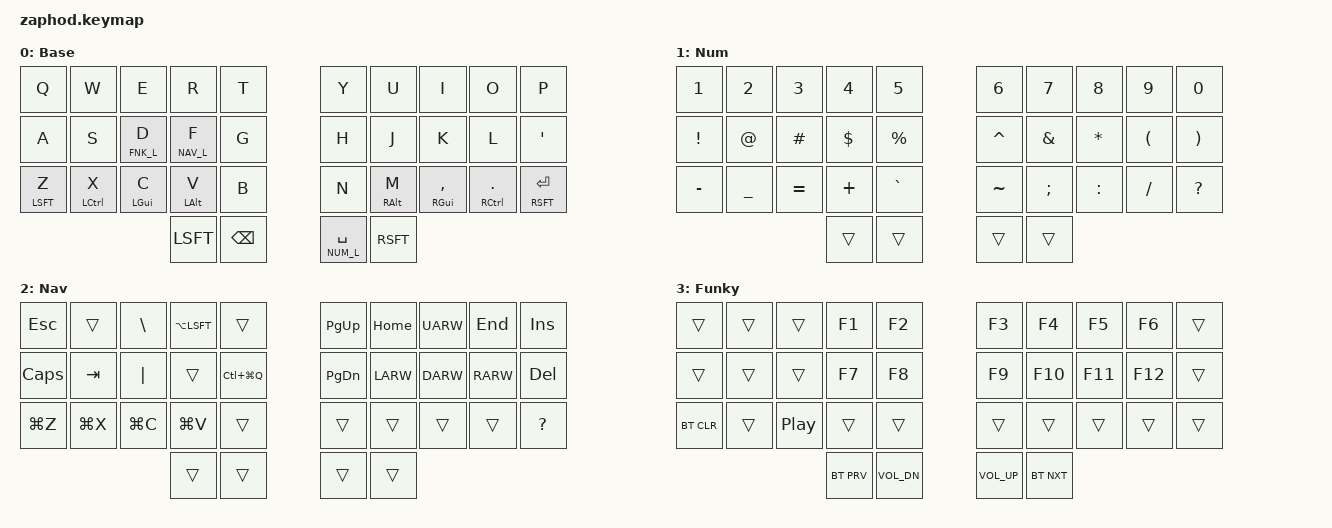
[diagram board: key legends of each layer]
/*
 * Copyright (c) 2021 Pete Johanson
 *
 * SPDX-License-Identifier: MIT
 */

#include <behaviors.dtsi>
#include <dt-bindings/zmk/keys.h>
#include <dt-bindings/zmk/bt.h>
#include <dt-bindings/zmk/outputs.h>

#define NUM_L 1
#define NAV_L 2
#define FNK_L 3

// Using layer taps on thumbs, having quick tap as well helps w/ repeating space/backspace
&lt { quick_tap_ms = <200>; };

/ {
    behaviors {
        hm: homerow_mods {
            compatible = "zmk,behavior-hold-tap";
            label = "homerow mods";
            #binding-cells = <2>;
            tapping_term_ms = <200>;
            flavor = "tap-preferred";
            bindings = <&kp>, <&kp>;
        };
    };

    keymap {
        compatible = "zmk,keymap";

        default_layer {
            label = "Base";
            bindings = <
                &kp Q      &kp W      &kp E       &kp R          &kp T         &kp Y            &kp U          &kp I       &kp O      &kp P
                &kp A      &kp S      &lt FNK_L D &lt NAV_L F    &kp G         &kp H            &kp J          &kp K       &kp L      &kp QUOT
                &hm LSFT Z &hm LCTRL X &hm LGUI C &hm LALT V     &kp B         &kp N       &hm RALT M  &hm RGUI COMMA &hm RCTRL DOT   &hm RSFT RET
                                                  &kp LSFT      &kp BKSP      &lt NUM_L SPACE  &kp RSFT
            >;
        };
	
	num_layer {
            label = "Num";
            bindings = <
                &kp N1     &kp N2     &kp N3      &kp N4          &kp N5       &kp N6           &kp N7         &kp N8      &kp N9     &kp N0
                &kp EXCL   &kp AT     &kp HASH    &kp DLLR        &kp PRCNT    &kp CARET        &kp AMPS       &kp STAR    &kp LPAR   &kp RPAR
                &kp MINUS  &kp UNDER  &kp EQUAL   &kp PLUS          &kp GRAVE    &kp TILDE        &kp SEMI       &kp COLON   &kp FSLH   &kp QMARK
                                                  &trans          &trans       &trans           &trans
            >;
        };
        
	nav_layer {
            label = "Nav";
            bindings = <
                &kp ESC     &trans       &kp BSLH    &kp LA(LSFT)     &trans       &kp PG_UP       &kp HOME        &kp UARW    &kp END    &kp INS
                &kp CAPS    &kp TAB      &kp PIPE    &trans          &kp LC(LG(Q))        &kp PG_DN       &kp LARW        &kp DARW    &kp RARW   &kp DEL
                &kp LG(Z)   &kp LG(X)    &kp LG(C)   &kp LG(V)          &trans       &trans           &trans          &trans      &trans     &kp QMARK
                                                  &trans          &trans       &trans         &trans
            >;
        };
	
        fnk_layer {
            label = "Funky";
            bindings = <
                &trans	   &trans     &trans      &kp F1          &kp F2       &kp F3           &kp F4         &kp F5       &kp F6       &trans
                &trans     &trans     &trans      &kp F7          &kp F8       &kp F9           &kp F10        &kp F11      &kp F12      &trans
                &bt BT_CLR &trans     &kp C_PP       &trans          &trans       &trans           &trans         &trans       &trans       &trans
                                                  &bt BT_PRV         &kp C_VOL_DN    &kp C_VOL_UP        &bt BT_NXT
            >;
        };
    };
};

